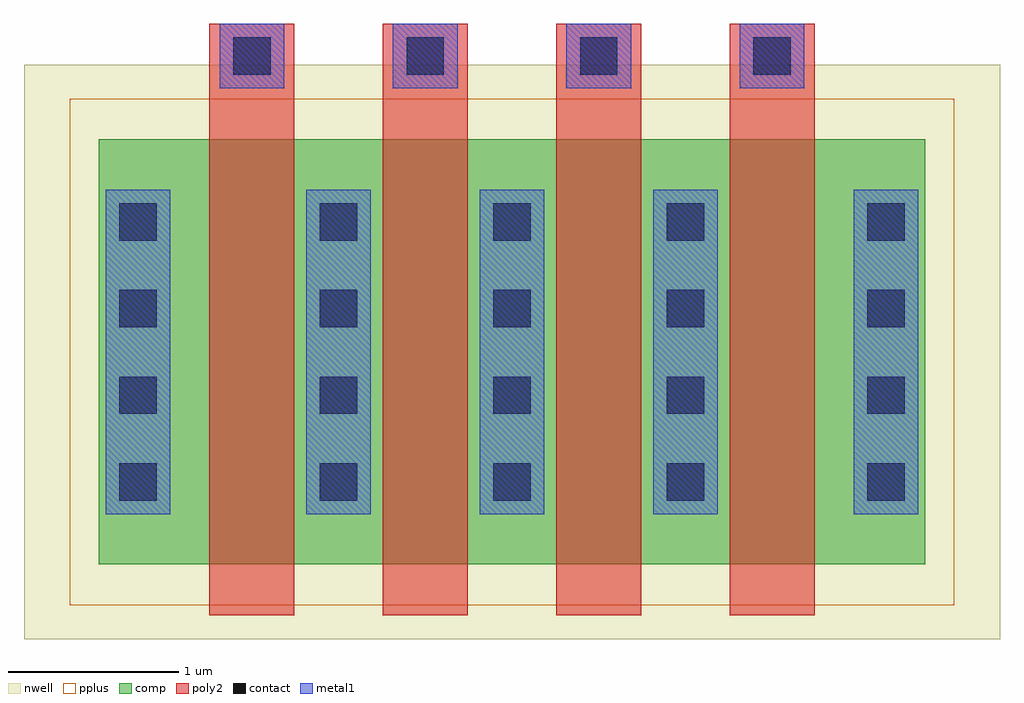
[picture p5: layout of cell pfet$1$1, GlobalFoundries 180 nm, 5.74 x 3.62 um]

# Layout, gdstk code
import gdstk
lib = gdstk.Library(unit=1e-6, precision=5e-09)
def R(c, l, rs):  # rectangles x0, y0, x1, y1
    for r in rs: c.add(gdstk.rectangle(r[:2], r[2:], *l))
def A(c, l, x, y, w, h, nx, ny, dx, dy):  # array of equal rectangles
    R(c, l, [(x+i*dx, y+j*dy, x+i*dx+w, y+j*dy+h) for i in range(nx) for j in range(ny)])
nwell = (21, 0)
comp = (22, 0)
poly2 = (30, 0)
pplus = (31, 0)
contact = (33, 0)
metal1 = (34, 0)

pfet_1_1 = lib.new_cell('pfet$1$1')
R(pfet_1_1, nwell, [(-0.9,-0.44,4.84,2.94)])
R(pfet_1_1, comp, [(-0.46,0,0,2.5), (0,0,3.94,2.5), (3.94,0,4.4,2.5)])
A(pfet_1_1, poly2, 0.19, -0.3, 0.5, 3.1, 4, 1, 1.02, 0)
A(pfet_1_1, poly2, 0.19, 2.8, 0.5, 0.38, 4, 1, 1.02, 0)
R(pfet_1_1, pplus, [(-0.63,-0.24,4.57,2.74)])
A(pfet_1_1, contact, -0.34, 0.375, 0.22, 0.22, 1, 4, 0, 0.51)
A(pfet_1_1, contact, 0.84, 0.375, 0.22, 0.22, 3, 4, 1.02, 0.51)
A(pfet_1_1, contact, 4.06, 0.375, 0.22, 0.22, 1, 4, 0, 0.51)
A(pfet_1_1, contact, 0.33, 2.88, 0.22, 0.22, 4, 1, 1.02, 0)
A(pfet_1_1, metal1, 0.76, 0.295, 0.38, 1.91, 3, 1, 1.02, 0)
A(pfet_1_1, metal1, 0.25, 2.8, 0.38, 0.38, 4, 1, 1.02, 0)
R(pfet_1_1, metal1, [(-0.42,0.295,-0.04,2.205), (3.98,0.295,4.36,2.205)])

lib.write_gds('pfet_1_1.gds')
